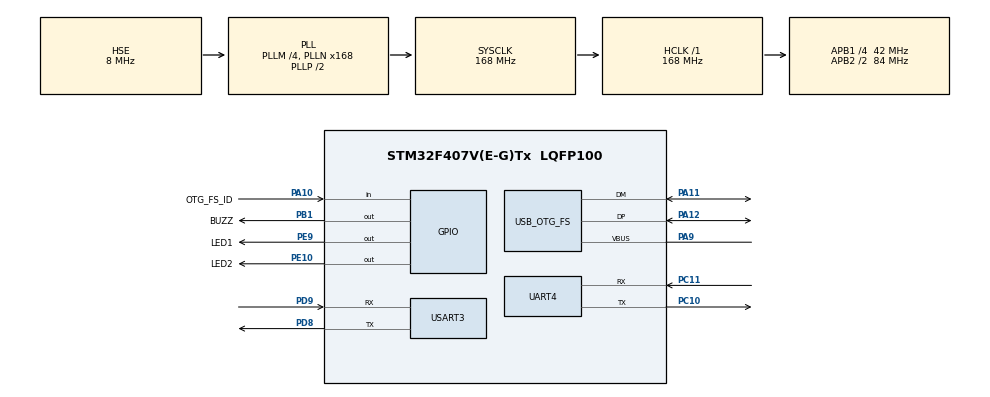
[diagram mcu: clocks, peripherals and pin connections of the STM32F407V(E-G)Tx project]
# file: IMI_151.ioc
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Dma.Request0=USART3_RX
Dma.Request1=USART3_TX
Dma.Request2=UART4_RX
Dma.Request3=UART4_TX
Dma.UART4_RX.2.Direction=DMA_PERIPH_TO_MEMORY
Dma.UART4_RX.2.FIFOMode=DMA_FIFOMODE_DISABLE
Dma.UART4_RX.2.Instance=DMA1_Stream2
Dma.UART4_RX.2.MemDataAlignment=DMA_MDATAALIGN_BYTE
Dma.UART4_RX.2.MemInc=DMA_MINC_ENABLE
Dma.UART4_RX.2.Mode=DMA_NORMAL
Dma.UART4_RX.2.PeriphDataAlignment=DMA_PDATAALIGN_BYTE
Dma.UART4_RX.2.PeriphInc=DMA_PINC_DISABLE
Dma.UART4_RX.2.Priority=DMA_PRIORITY_LOW
Dma.UART4_TX.3.Direction=DMA_MEMORY_TO_PERIPH
Dma.UART4_TX.3.FIFOMode=DMA_FIFOMODE_DISABLE
Dma.UART4_TX.3.Instance=DMA1_Stream4
Dma.UART4_TX.3.MemDataAlignment=DMA_MDATAALIGN_BYTE
Dma.UART4_TX.3.MemInc=DMA_MINC_ENABLE
Dma.UART4_TX.3.Mode=DMA_NORMAL
Dma.UART4_TX.3.PeriphDataAlignment=DMA_PDATAALIGN_BYTE
Dma.UART4_TX.3.PeriphInc=DMA_PINC_DISABLE
Dma.UART4_TX.3.Priority=DMA_PRIORITY_LOW
Dma.USART3_RX.0.Direction=DMA_PERIPH_TO_MEMORY
Dma.USART3_RX.0.FIFOMode=DMA_FIFOMODE_DISABLE
Dma.USART3_RX.0.Instance=DMA1_Stream1
Dma.USART3_RX.0.MemDataAlignment=DMA_MDATAALIGN_BYTE
Dma.USART3_RX.0.MemInc=DMA_MINC_ENABLE
Dma.USART3_RX.0.Mode=DMA_NORMAL
Dma.USART3_RX.0.PeriphDataAlignment=DMA_PDATAALIGN_BYTE
Dma.USART3_RX.0.PeriphInc=DMA_PINC_DISABLE
Dma.USART3_RX.0.Priority=DMA_PRIORITY_LOW
Dma.USART3_TX.1.Direction=DMA_MEMORY_TO_PERIPH
Dma.USART3_TX.1.FIFOMode=DMA_FIFOMODE_DISABLE
Dma.USART3_TX.1.Instance=DMA1_Stream3
Dma.USART3_TX.1.MemDataAlignment=DMA_MDATAALIGN_BYTE
Dma.USART3_TX.1.MemInc=DMA_MINC_ENABLE
Dma.USART3_TX.1.Mode=DMA_NORMAL
Dma.USART3_TX.1.PeriphDataAlignment=DMA_PDATAALIGN_BYTE
Dma.USART3_TX.1.PeriphInc=DMA_PINC_DISABLE
Dma.USART3_TX.1.Priority=DMA_PRIORITY_LOW
Mcu.Family=STM32F4
Mcu.Name=STM32F407V(E-G)Tx
Mcu.Package=LQFP100
NVIC.DMA1_Stream1_IRQn=true\:1\:0\:true\:false\:true\:false
NVIC.DMA1_Stream2_IRQn=true\:0\:0\:false\:false\:true\:false
NVIC.DMA1_Stream3_IRQn=true\:0\:0\:false\:false\:true\:false
NVIC.DMA1_Stream4_IRQn=true\:0\:0\:false\:false\:true\:false
NVIC.OTG_FS_IRQn=true\:2\:0\:true\:false\:true\:false
NVIC.PriorityGroup=NVIC_PRIORITYGROUP_4
NVIC.UART4_IRQn=true\:0\:0\:false\:false\:true\:true
NVIC.USART3_IRQn=true\:1\:0\:true\:false\:true\:true
PA10.GPIO_Label=OTG_FS_ID
PA10.Signal=GPIO_Input
PA11.Mode=Host_Only
PA11.Signal=USB_OTG_FS_DM
PA12.Mode=Host_Only
PA12.Signal=USB_OTG_FS_DP
PA13.Mode=Serial_Wire
PA13.Signal=SYS_JTMS-SWDIO
PA14.Mode=Serial_Wire
PA14.Signal=SYS_JTCK-SWCLK
PA9.GPIO_PuPd=GPIO_PULLUP
PA9.Mode=Activate_VBUS
PA9.Signal=USB_OTG_FS_VBUS
PB1.GPIO_Label=BUZZ
PB1.GPIO_PuPd=GPIO_PULLUP
PB1.Signal=GPIO_Output
PC10.Mode=Asynchronous
PC10.Signal=UART4_TX
PC11.Mode=Asynchronous
PC11.Signal=UART4_RX
PD8.Mode=Asynchronous
PD8.Signal=USART3_TX
PD9.Mode=Asynchronous
PD9.Signal=USART3_RX
PE10.GPIO_Label=LED2
PE10.GPIO_PuPd=GPIO_PULLUP
PE10.Signal=GPIO_Output
PE9.GPIO_Label=LED1
PE9.GPIO_PuPd=GPIO_PULLUP
PE9.Signal=GPIO_Output
PH0-OSC_IN.Mode=HSE-External-Oscillator
PH0-OSC_IN.Signal=RCC_OSC_IN
PH1-OSC_OUT.Mode=HSE-External-Oscillator
PH1-OSC_OUT.Signal=RCC_OSC_OUT
ProjectManager.HeapSize=0x400
ProjectManager.StackSize=0x800
ProjectManager.TargetToolchain=MDK-ARM V5
RCC.48MHZClocksFreq_Value=48000000
RCC.AHBFreq_Value=168000000
RCC.APB1CLKDivider=RCC_HCLK_DIV4
RCC.APB1Freq_Value=42000000
RCC.APB1TimFreq_Value=84000000
RCC.APB2CLKDivider=RCC_HCLK_DIV2
RCC.APB2Freq_Value=84000000
RCC.APB2TimFreq_Value=168000000
RCC.CortexFreq_Value=168000000
RCC.HCLKFreq_Value=168000000
RCC.HSE_VALUE=8000000
RCC.HSI_VALUE=16000000
RCC.LSE_VALUE=32768
RCC.PLLM=4
RCC.PLLN=168
RCC.PLLQ=7
RCC.SYSCLKFreq_VALUE=168000000
RCC.SYSCLKSource=RCC_SYSCLKSOURCE_PLLCLK
RCC.VCOOutputFreq_Value=336000000
UART4.VirtualMode=Asynchronous
USART3.VirtualMode=VM_ASYNC
USB_HOST.USBH_HandleTypeDef-HID_FS=hUsbHostFS
USB_HOST.VirtualModeFS=Hid
USB_OTG_FS.VirtualMode=Host_Only
USB_OTG_FS.phy_itface=HCD_PHY_EMBEDDED
VP_USB_HOST_VS_USB_HOST_HID_FS.Mode=HID_FS
board=custom

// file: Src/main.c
/**
  ******************************************************************************
  * @file           : main.c
  * @brief          : Main program body
  ******************************************************************************
  * This notice applies to any and all portions of this file
  * that are not between comment pairs USER CODE BEGIN and
  * USER CODE END. Other portions of this file, whether
  * inserted by the user or by software development tools
  * are owned by their respective copyright owners.
  *
  * Copyright (c) 2018 STMicroelectronics International N.V.
  * All rights reserved.
  *
  * Redistribution and use in source and binary forms, with or without
  * modification, are permitted, provided that the following conditions are met:
  *
  * 1. Redistribution of source code must retain the above copyright notice,
  *    this list of conditions and the following disclaimer.
  * 2. Redistributions in binary form must reproduce the above copyright notice,
  *    this list of conditions and the following disclaimer in the documentation
  *    and/or other materials provided with the distribution.
  * 3. Neither the name of STMicroelectronics nor the names of other
  *    contributors to this software may be used to endorse or promote products
  *    derived from this software without specific written permission.
  * 4. This software, including modifications and/or derivative works of this
  *    software, must execute solely and exclusively on microcontroller or
  *    microprocessor devices manufactured by or for STMicroelectronics.
  * 5. Redistribution and use of this software other than as permitted under
  *    this license is void and will automatically terminate your rights under
  *    this license.
  *
  * THIS SOFTWARE IS PROVIDED BY STMICROELECTRONICS AND CONTRIBUTORS "AS IS"
  * AND ANY EXPRESS, IMPLIED OR STATUTORY WARRANTIES, INCLUDING, BUT NOT
  * LIMITED TO, THE IMPLIED WARRANTIES OF MERCHANTABILITY, FITNESS FOR A
  * PARTICULAR PURPOSE AND NON-INFRINGEMENT OF THIRD PARTY INTELLECTUAL PROPERTY
  * RIGHTS ARE DISCLAIMED TO THE FULLEST EXTENT PERMITTED BY LAW. IN NO EVENT
  * SHALL STMICROELECTRONICS OR CONTRIBUTORS BE LIABLE FOR ANY DIRECT, INDIRECT,
  * INCIDENTAL, SPECIAL, EXEMPLARY, OR CONSEQUENTIAL DAMAGES (INCLUDING, BUT NOT
  * LIMITED TO, PROCUREMENT OF SUBSTITUTE GOODS OR SERVICES; LOSS OF USE, DATA,
  * OR PROFITS; OR BUSINESS INTERRUPTION) HOWEVER CAUSED AND ON ANY THEORY OF
  * LIABILITY, WHETHER IN CONTRACT, STRICT LIABILITY, OR TORT (INCLUDING
  * NEGLIGENCE OR OTHERWISE) ARISING IN ANY WAY OUT OF THE USE OF THIS SOFTWARE,
  * EVEN IF ADVISED OF THE POSSIBILITY OF SUCH DAMAGE.
  *
  ******************************************************************************
  */
#include "main.h"
#include "stm32f4xx_hal.h"
#include "usb_host.h"

/* USER CODE BEGIN Includes */
#include "uar.h"		//自定义串口不定接收头文件
#include "usbh_ioreq.h"		//USB的一个头文件
/* USER CODE END Includes */

UART_HandleTypeDef huart4;
UART_HandleTypeDef huart3;
DMA_HandleTypeDef hdma_uart4_rx;
DMA_HandleTypeDef hdma_uart4_tx;
DMA_HandleTypeDef hdma_usart3_rx;
DMA_HandleTypeDef hdma_usart3_tx;

/* USER CODE BEGIN PV */
/* Private variables ---------------------------------------------------------*/

/* USER CODE END PV */

void SystemClock_Config(void);
static void MX_GPIO_Init(void);
static void MX_DMA_Init(void);
static void MX_USART3_UART_Init(void);
static void MX_UART4_Init(void);
void MX_USB_HOST_Process(void);

/* USER CODE BEGIN PFP */
/* Private function prototypes -----------------------------------------------*/

/* USER CODE END PFP */

/* USER CODE BEGIN 0 */

//串口接收不定长度数据定义
volatile uint8_t rx_len=0;                            //接收数据长度
volatile uint8_t recv_end_flag=0;                     //接收完成标记位
uint8_t  rx_buffer[100];                              //接收缓存
char     BUFFER_SIZE=100;                             //不定长数据的最大长度，设置为100则最大长度为100
extern USBH_HandleTypeDef hUsbHostFS;

//#define len2 100
//uint8_t bu[10]={0};

//串口4 DMA接收定义
volatile uint8_t rx_len_1=0;                            //接收数据串口1 800c长度
volatile uint8_t recv_end_flag_1=0;                     //接收串口1 800c完成标记位
uint8_t  rx_buffer1[100];  	//接收串口1 800c缓存

/**/
//串口4中断接收定义
#define MAX_RECV_LEN 1024 		//设定可以接收的最大字节
uint8_t msg_buff[MAX_RECV_LEN] = {0}; //接收缓存区
uint8_t * msg = msg_buff;	//定义一个指针指向接收缓存区
int flag = 0;		//接收完成标志
int len_u4=0;  //数据长度记录

/* USER CODE END 0 */

int main(void)
{

  /* MCU Configuration----------------------------------------------------------*/

  /* Reset of all peripherals, Initializes the Flash interface and the Systick. */
  HAL_Init();

  /* Configure the system clock */
  SystemClock_Config();

  /* Initialize all configured peripherals */
  MX_GPIO_Init();
  MX_DMA_Init();
  MX_USART3_UART_Init();
  MX_USB_HOST_Init();
  MX_UART4_Init();

  /* Infinite loop */
  /* USER CODE BEGIN WHILE */
	HAL_UART_Receive_IT(&huart4, (uint8_t *)msg, 1); //开启第一次中断
  while (1)
  {

  /* USER CODE END WHILE */
    MX_USB_HOST_Process();

  /* USER CODE BEGIN 3 */
		Data_Turn();
		//Data_Turn1();

			if (flag == 1)
    {
            printf("Return_date = %s len = %d\r\n",msg_buff,len_u4);
						HAL_UART_Transmit(&huart3,msg_buff, len_u4,100);         //将接收到的800c数据通过串口3传出
            memset(msg_buff, 0, sizeof(msg_buff));   //清空缓存区
					 // 指向接收缓存的头部
            msg = msg_buff;
            (&huart4)->pRxBuffPtr = msg;
            flag = 0;
						len_u4=0;//每次数据长度清0
    }
		HAL_Delay(10);
  }
  /* USER CODE END 3 */

}
/*重写串口接收回调函数*/
void HAL_UART_RxCpltCallback(UART_HandleTypeDef*UartHandle)
{
	 uint8_t ret = HAL_OK;
    msg++;
		len_u4++;//数据长度计数
    if( msg == msg_buff + MAX_RECV_LEN)
    {
        msg = msg_buff;
    }
		 do
    {
        ret = HAL_UART_Receive_IT(UartHandle,(uint8_t *)msg,1);
    }while(ret != HAL_OK);
		if(*(msg-1) == '\n')   //接收以\n为结尾字符，则表示接收完成
    {
        flag  = 1;
    }
}

void SystemClock_Config(void)
{

  RCC_OscInitTypeDef RCC_OscInitStruct;
  RCC_ClkInitTypeDef RCC_ClkInitStruct;

    /**Configure the main internal regulator output voltage
    */
  __HAL_RCC_PWR_CLK_ENABLE();

  __HAL_PWR_VOLTAGESCALING_CONFIG(PWR_REGULATOR_VOLTAGE_SCALE1);

    /**Initializes the CPU, AHB and APB busses clocks
    */
  RCC_OscInitStruct.OscillatorType = RCC_OSCILLATORTYPE_HSE;
  RCC_OscInitStruct.HSEState = RCC_HSE_ON;
  RCC_OscInitStruct.PLL.PLLState = RCC_PLL_ON;
  RCC_OscInitStruct.PLL.PLLSource = RCC_PLLSOURCE_HSE;
  RCC_OscInitStruct.PLL.PLLM = 4;
  RCC_OscInitStruct.PLL.PLLN = 168;
  RCC_OscInitStruct.PLL.PLLP = RCC_PLLP_DIV2;
  RCC_OscInitStruct.PLL.PLLQ = 7;
  if (HAL_RCC_OscConfig(&RCC_OscInitStruct) != HAL_OK)
  {
    _Error_Handler(__FILE__, __LINE__);
  }

    /**Initializes the CPU, AHB and APB busses clocks
    */
  RCC_ClkInitStruct.ClockType = RCC_CLOCKTYPE_HCLK|RCC_CLOCKTYPE_SYSCLK
                              |RCC_CLOCKTYPE_PCLK1|RCC_CLOCKTYPE_PCLK2;
  RCC_ClkInitStruct.SYSCLKSource = RCC_SYSCLKSOURCE_PLLCLK;
  RCC_ClkInitStruct.AHBCLKDivider = RCC_SYSCLK_DIV1;
  RCC_ClkInitStruct.APB1CLKDivider = RCC_HCLK_DIV4;
  RCC_ClkInitStruct.APB2CLKDivider = RCC_HCLK_DIV2;

  if (HAL_RCC_ClockConfig(&RCC_ClkInitStruct, FLASH_LATENCY_5) != HAL_OK)
  {
    _Error_Handler(__FILE__, __LINE__);
  }

    /**Configure the Systick interrupt time
    */
  HAL_SYSTICK_Config(HAL_RCC_GetHCLKFreq()/1000);

    /**Configure the Systick
    */
  HAL_SYSTICK_CLKSourceConfig(SYSTICK_CLKSOURCE_HCLK);

  /* SysTick_IRQn interrupt configuration */
  HAL_NVIC_SetPriority(SysTick_IRQn, 0, 0);
}

/* UART4 init function */
static void MX_UART4_Init(void)
{

  huart4.Instance = UART4;
  huart4.Init.BaudRate = 115200;
  huart4.Init.WordLength = UART_WORDLENGTH_8B;
  huart4.Init.StopBits = UART_STOPBITS_1;
  huart4.Init.Parity = UART_PARITY_NONE;
  huart4.Init.Mode = UART_MODE_TX_RX;
  huart4.Init.HwFlowCtl = UART_HWCONTROL_NONE;
  huart4.Init.OverSampling = UART_OVERSAMPLING_16;
  if (HAL_UART_Init(&huart4) != HAL_OK)
  {
    _Error_Handler(__FILE__, __LINE__);
  }
//	__HAL_UART_ENABLE_IT(&huart4, UART_IT_IDLE);        //使能idle中断，关闭这个第二次发送可以接收到完整，第一次接收不到
//  HAL_UART_Receive_DMA(&huart4,rx_buffer1,BUFFER_SIZE);  //打开DMA接收，数据存入rx_buffer数组中。
}

/* USART3 init function */
static void MX_USART3_UART_Init(void)
{

  huart3.Instance = USART3;
  huart3.Init.BaudRate = 115200;
  huart3.Init.WordLength = UART_WORDLENGTH_8B;
  huart3.Init.StopBits = UART_STOPBITS_1;
  huart3.Init.Parity = UART_PARITY_NONE;
  huart3.Init.Mode = UART_MODE_TX_RX;
  huart3.Init.HwFlowCtl = UART_HWCONTROL_NONE;
  huart3.Init.OverSampling = UART_OVERSAMPLING_16;
  if (HAL_UART_Init(&huart3) != HAL_OK)
  {
    _Error_Handler(__FILE__, __LINE__);
  }
	__HAL_UART_ENABLE_IT(&huart3, UART_IT_IDLE);        //使能idle中断
  HAL_UART_Receive_DMA(&huart3,rx_buffer,BUFFER_SIZE);  //打开DMA接收，数据存入rx_buffer数组中。
}

static void MX_DMA_Init(void)
{
  /* DMA controller clock enable */
  __HAL_RCC_DMA1_CLK_ENABLE();

  /* DMA interrupt init */
  /* DMA1_Stream1_IRQn interrupt configuration */
  HAL_NVIC_SetPriority(DMA1_Stream1_IRQn, 1, 0);
  HAL_NVIC_EnableIRQ(DMA1_Stream1_IRQn);
  /* DMA1_Stream2_IRQn interrupt configuration */
  HAL_NVIC_SetPriority(DMA1_Stream2_IRQn, 0, 0);
  HAL_NVIC_EnableIRQ(DMA1_Stream2_IRQn);
  /* DMA1_Stream3_IRQn interrupt configuration */
  HAL_NVIC_SetPriority(DMA1_Stream3_IRQn, 0, 0);
  HAL_NVIC_EnableIRQ(DMA1_Stream3_IRQn);
  /* DMA1_Stream4_IRQn interrupt configuration */
  HAL_NVIC_SetPriority(DMA1_Stream4_IRQn, 0, 0);
  HAL_NVIC_EnableIRQ(DMA1_Stream4_IRQn);

}

/** Configure pins as
        * Analog
        * Input
        * Output
        * EVENT_OUT
        * EXTI
*/
static void MX_GPIO_Init(void)
{

  GPIO_InitTypeDef GPIO_InitStruct;

  /* GPIO Ports Clock Enable */
  __HAL_RCC_GPIOH_CLK_ENABLE();
  __HAL_RCC_GPIOB_CLK_ENABLE();
  __HAL_RCC_GPIOE_CLK_ENABLE();
  __HAL_RCC_GPIOD_CLK_ENABLE();
  __HAL_RCC_GPIOA_CLK_ENABLE();
  __HAL_RCC_GPIOC_CLK_ENABLE();

  /*Configure GPIO pin Output Level */
  HAL_GPIO_WritePin(BUZZ_GPIO_Port, BUZZ_Pin, GPIO_PIN_RESET);

  /*Configure GPIO pin Output Level */
  HAL_GPIO_WritePin(GPIOE, LED1_Pin|LED2_Pin, GPIO_PIN_RESET);

  /*Configure GPIO pin : BUZZ_Pin */
  GPIO_InitStruct.Pin = BUZZ_Pin;
  GPIO_InitStruct.Mode = GPIO_MODE_OUTPUT_PP;
  GPIO_InitStruct.Pull = GPIO_PULLUP;
  GPIO_InitStruct.Speed = GPIO_SPEED_FREQ_LOW;
  HAL_GPIO_Init(BUZZ_GPIO_Port, &GPIO_InitStruct);

  /*Configure GPIO pins : LED1_Pin LED2_Pin */
  GPIO_InitStruct.Pin = LED1_Pin|LED2_Pin;
  GPIO_InitStruct.Mode = GPIO_MODE_OUTPUT_PP;
  GPIO_InitStruct.Pull = GPIO_PULLUP;
  GPIO_InitStruct.Speed = GPIO_SPEED_FREQ_LOW;
  HAL_GPIO_Init(GPIOE, &GPIO_InitStruct);

  /*Configure GPIO pin : OTG_FS_ID_Pin */
  GPIO_InitStruct.Pin = OTG_FS_ID_Pin;
  GPIO_InitStruct.Mode = GPIO_MODE_INPUT;
  GPIO_InitStruct.Pull = GPIO_NOPULL;
  HAL_GPIO_Init(OTG_FS_ID_GPIO_Port, &GPIO_InitStruct);

}

void _Error_Handler(char *file, int line)
{
  while(1)
  {
  }
}

/************************ (C) COPYRIGHT STMicroelectronics *****END OF FILE****/
